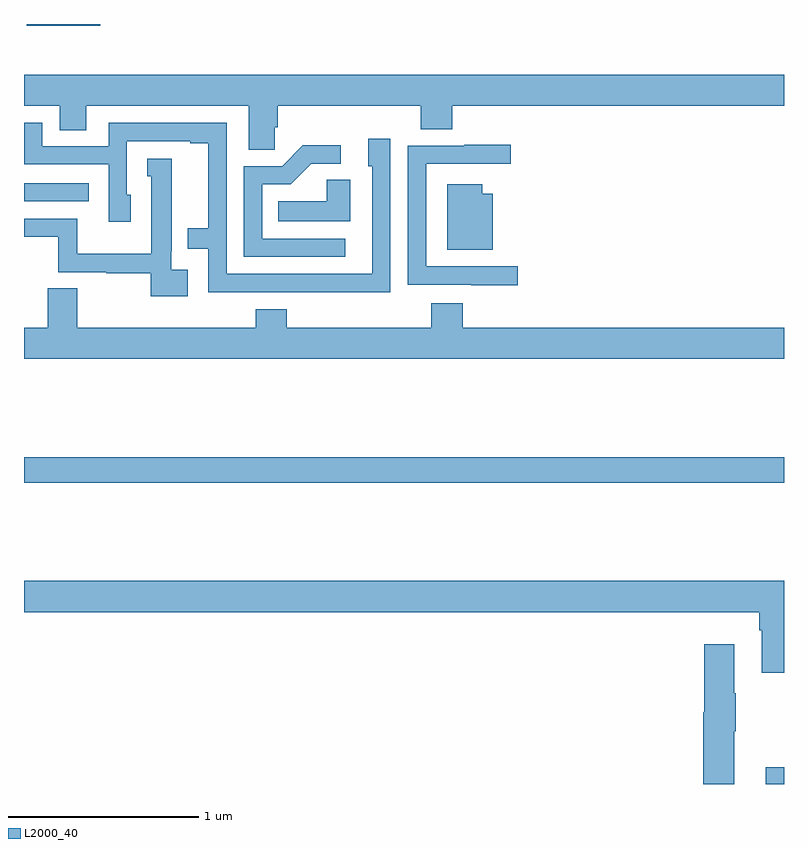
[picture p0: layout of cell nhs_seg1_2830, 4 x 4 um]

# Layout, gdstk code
import gdstk
lib = gdstk.Library(unit=1e-6, precision=1e-09)
def R(c, l, rs):  # rectangles x0, y0, x1, y1
    for r in rs: c.add(gdstk.rectangle(r[:2], r[2:], *l))
def P(c, l, *ps):  # polygons
    for p in ps: c.add(gdstk.Polygon(p, *l))
L2000_40 = (2000, 40)

nhs_seg1_2830 = lib.new_cell('nhs_seg1_2830')
R(nhs_seg1_2830, L2000_40, [(268.904,512.199,269,512.287), (265,513.784,269,513.92), (265,515.265,265.342,515.361), (265.014,516.191,265.402,516.199)])
P(nhs_seg1_2830, L2000_40, [(265,515.768),(265.187,515.768),(265.187,515.641),(265.327,515.641),(265.327,515.768),(266.183,515.768),(266.183,515.536),(266.321,515.536),(266.321,515.656),(266.336,515.656),(266.336,515.768),(267.089,515.768),(267.089,515.644),(267.254,515.644),(267.254,515.768),(269,515.768),(269,515.932),(265,515.932)],
  [(266.928,515.596),(266.813,515.596),(266.813,515.451),(266.832,515.451),(266.832,514.884),(266.067,514.884),(266.067,515.679),(265.446,515.679),(265.446,515.556),(265.095,515.556),(265.095,515.679),(265,515.679),(265,515.46),(265.446,515.46),(265.446,515.157),(265.561,515.157),(265.561,515.301),(265.542,515.301),(265.542,515.583),(265.874,515.583),(265.874,515.571),(265.97,515.571),(265.97,515.125),(265.862,515.125),(265.862,515.016),(265.971,515.016),(265.971,514.788),(266.467,514.788),(266.467,514.787),(266.928,514.787)],
  [(267.598,514.923),(267.117,514.923),(267.117,515.463),(267.562,515.463),(267.562,515.563),(267.317,515.563),(267.317,515.559),(267.021,515.559),(267.021,514.827),(267.353,514.827),(267.353,514.823),(267.598,514.823)],
  [(266.692,515.07),(266.253,515.07),(266.253,515.355),(266.403,515.355),(266.511,515.463),(266.668,515.463),(266.668,515.561),(266.468,515.561),(266.358,515.451),(266.157,515.451),(266.157,514.974),(266.692,514.974)],
  [(265.861,514.906),(265.776,514.906),(265.776,515.002),(265.777,515.002),(265.777,515.49),(265.649,515.49),(265.649,515.397),(265.67,515.397),(265.67,514.99),(265.279,514.99),(265.279,515.175),(265,515.175),(265,515.079),(265.181,515.079),(265.181,514.893),(265.434,514.893),(265.434,514.888),(265.668,514.888),(265.668,514.766),(265.861,514.766)],
  [(266.716,515.378),(266.594,515.378),(266.594,515.266),(266.338,515.266),(266.338,515.162),(266.716,515.162)],
  [(267.466,515.305),(267.413,515.305),(267.413,515.356),(267.227,515.356),(267.227,515.012),(267.466,515.012)],
  [(269,514.6),(267.308,514.6),(267.308,514.729),(267.143,514.729),(267.143,514.6),(266.384,514.6),(266.384,514.699),(266.219,514.699),(266.219,514.6),(265.281,514.6),(265.281,514.808),(265.126,514.808),(265.126,514.6),(265,514.6),(265,514.436),(269,514.436)],
  [(269,513.268),(265,513.268),(265,513.104),(268.871,513.104),(268.871,513.008),(268.883,513.008),(268.883,512.784),(269,512.784)],
  [(268.738,512.477),(268.746,512.477),(268.746,512.677),(268.738,512.677),(268.738,512.935),(268.58,512.935),(268.58,512.577),(268.574,512.577),(268.574,512.199),(268.738,512.199)])

lib.write_gds('nhs_seg1_2830.gds')
